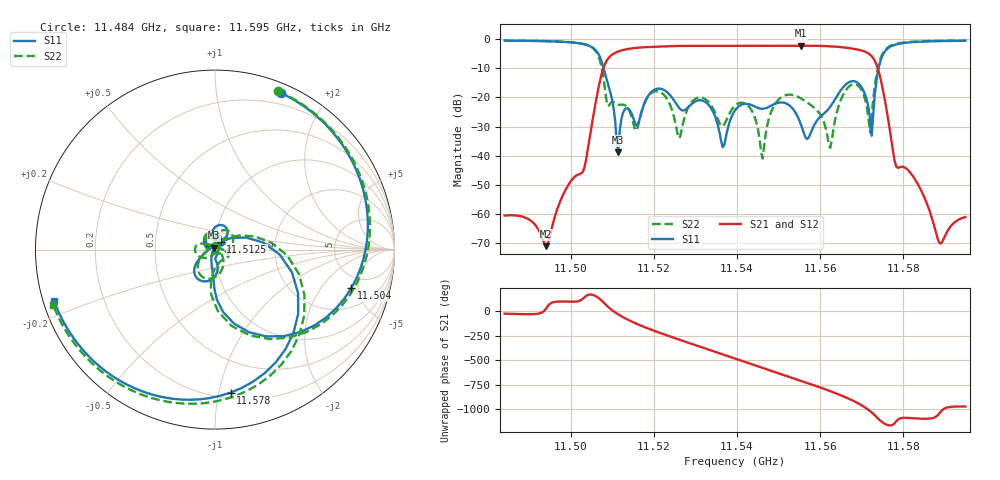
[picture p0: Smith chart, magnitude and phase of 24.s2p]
! Created with skrf 1.8.0 (http://scikit-rf.org).
# Hz S RI R 50.0
!freq ReS11 ImS11 ReS21 ImS21 ReS12 ImS12 ReS22 ImS22
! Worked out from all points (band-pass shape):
!   301 points, 11.484 GHz to 11.595 GHz, reference 50 ohm
!   highest |S21| = -2.19 dB at 11.5554 GHz (marker M1); lowest = -71.1 dB at 11.494 GHz (marker M2)
!   |S21| within 3 dB of the highest: 11.51 GHz to 11.5719 GHz (61.92 MHz wide, 0.536 % of centre)
!   lowest |S11| = -38.8 dB at 11.5114 GHz (marker M3), VSWR 1.02, Z = 49.6 + j1.06 ohm
!   |S11| at or under -10 dB: 11.5079 GHz to 11.5741 GHz (66.25 MHz wide, 0.574 % of centre)
!   |S22| runs from -41.0 to -0.4 dB; largest |S21 - S12| = 0.0098
!   S11 on the Smith chart (normalised r, x): 11.484 GHz: 0.09, +1.50; 11.504 GHz: 3.60, -4.12; 11.5125 GHz: 1.06, +0.09; 11.578 GHz: 0.24, -1.08; 11.595 GHz: 0.03, -0.15
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1.1484e10  0.368 0.8717  0.00085 -0.000388  0.000843 -0.000367  0.3524 0.8828
1.149399e10  0.6655 0.6418  0.000247 0.000128  0.000243 0.000131  0.6651 0.6509
1.15025e10  0.8374 -0.00846  -0.00219 0.00447  -0.00227 0.0045  0.8457 -0.0315
1.150398e10  0.7587 -0.2159  -0.0115 0.003  -0.0117 0.00297  0.7512 -0.2532
1.151138e10  -0.00415 0.0107  0.5199 -0.3305  0.5192 -0.3329  0.0737 -0.015
1.151249e10  0.0319 0.0431  0.327 -0.5636  0.3251 -0.565  0.0752 -0.0037
1.1521e10  0.0402 0.136  -0.613 0.4251  -0.6106 0.4253  0.0908 0.0892
1.152618e10  0.0329 0.0553  0.2812 0.7132  0.2868 0.7088  -0.0101 -0.0174
1.153062e10  0.00984 0.0884  0.7664 0.0638  0.76 0.0597  -0.0432 0.0892
1.153654e10  -0.00223 0.0138  0.1306 -0.7604  0.1267 -0.7585  -0.0143 0.0286
1.15395e10  -0.0543 0.0251  -0.4198 -0.6449  -0.4211 -0.6385  -0.0527 0.0491
1.154616e10  -0.0478 0.0425  -0.6019 0.4875  -0.5988 0.4886  0.00701 -0.00553
1.154912e10  -0.0615 0.0472  -0.1176 0.7655  -0.1106 0.7638  -0.0606 -0.0466
1.155541e10  0.0134 0.031  0.7658 0.1317  0.7582 0.1283  -0.0907 0.0313
1.1558e10  0.0151 -0.0225  0.6848 -0.3615  0.6799 -0.3593  -0.0643 0.0324
1.156244e10  0.00817 -0.0686  -0.0726 -0.7519  -0.0735 -0.7484  0.00923 0.01
1.156651e10  -0.0292 -0.1716  -0.6896 -0.1759  -0.6895 -0.175  0.0175 -0.1413
1.157206e10  -0.0409 -0.00569  0.2727 0.4683  0.2719 0.4659  -0.0146 0.0201
1.15765e10  0.3375 -0.6291  0.00368 -0.0377  0.00362 -0.0384  0.369 -0.6414
1.157798e10  0.0868 -0.7968  0.00371 -0.0071  0.00368 -0.00724  0.115 -0.8145
1.158871e10  -0.7745 -0.5112  0.000258 0.000187  0.000263 0.000181  -0.7724 -0.5371
1.1595e10  -0.8971 -0.2844  -0.00026 0.000842  -0.000235 0.000839  -0.9012 -0.3093
